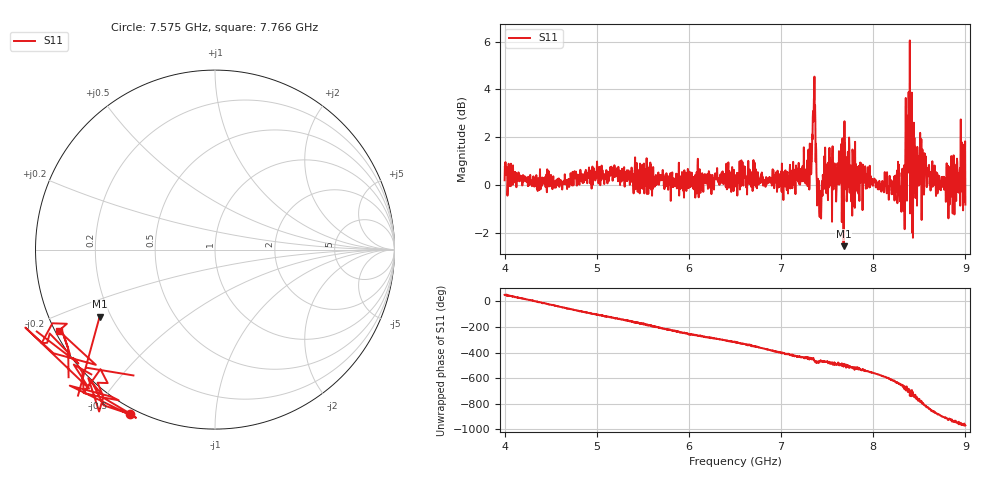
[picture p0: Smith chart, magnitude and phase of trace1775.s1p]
! Created with skrf 1.8.0 (http://scikit-rf.org).
# Hz S RI R 50.0
!freq ReS11 ImS11
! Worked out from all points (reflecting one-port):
!   1601 points, 4 GHz to 9 GHz, reference 50 ohm
!   lowest |S11| = -2.6 dB at 7.678 GHz (marker M1), VSWR 6.81, Z = 7.87 - j13.2 ohm
!   phase of S11 starts at 51 deg and turns -1020 deg over the sweep
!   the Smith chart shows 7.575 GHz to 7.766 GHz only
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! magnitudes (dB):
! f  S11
! 4 GHz  0.2
! 4.625 GHz  -0.2
! 5.25 GHz  0.2
! 5.875 GHz  0.2
! 6.5 GHz  0.3
! 7.125 GHz  0.5
! 7.284 GHz  1.0
! 7.312 GHz  1.7
! 7.356 GHz  3.6
! 7.412 GHz  -0.6
! 7.478 GHz  1.6
! 7.609 GHz  0.0
! 7.631 GHz  0.0
! 7.678 GHz  -2.6
! 7.75 GHz  0.3
! 7.769 GHz  -0.6
! 8.097 GHz  0.2
! 8.259 GHz  0.6
! 8.316 GHz  0.7
! 8.375 GHz  0.5
! 8.394 GHz  0.8
! 8.412 GHz  1.0
! 8.447 GHz  2.0
! 8.466 GHz  -0.1
! 8.581 GHz  -0.1
! 8.806 GHz  -0.4
! 8.972 GHz  0.5
! 9 GHz  -0.8
